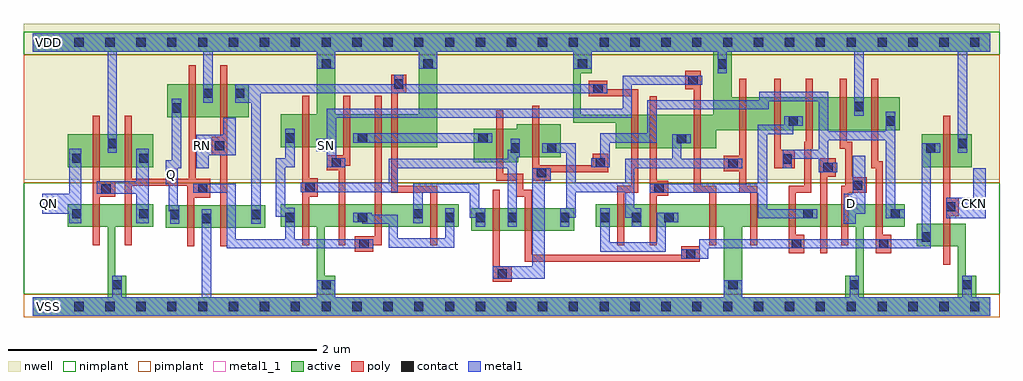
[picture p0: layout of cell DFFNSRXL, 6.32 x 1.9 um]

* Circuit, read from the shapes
.subckt DFFNSRXL CKN D Q QN RN SN VDD VSS
M1 VSS n1 QN VSS nfet w=0.145u l=0.045u
M2 n1 n2 VSS VSS nfet w=0.145u l=0.045u
M3 VSS n2 Q VSS nfet w=0.145u l=0.045u
M4 n3 RN VSS VSS nfet w=0.145u l=0.045u
M5 VSS n4 n2 VSS nfet w=0.145u l=0.045u
M6 n5 SN VSS VSS nfet w=0.145u l=0.045u
M7 n6 n2 n5 VSS nfet w=0.145u l=0.045u
M8 n5 n3 n6 VSS nfet w=0.145u l=0.045u
M9 n4 n7 n6 VSS nfet w=0.145u l=0.045u
M10 n8 n9 n4 VSS nfet w=0.145u l=0.045u
M11 n8 n3 n10 VSS nfet w=0.145u l=0.045u
M12 n10 n11 n8 VSS nfet w=0.145u l=0.045u
M13 VSS SN n10 VSS nfet w=0.145u l=0.045u
M14 n12 n8 VSS VSS nfet w=0.145u l=0.045u
M15 n11 n9 n12 VSS nfet w=0.145u l=0.045u
M16 n13 n7 n11 VSS nfet w=0.145u l=0.045u
M17 VSS D n13 VSS nfet w=0.145u l=0.045u
M18 n7 n9 VSS VSS nfet w=0.145u l=0.045u
M19 VSS CKN n9 VSS nfet w=0.145u l=0.045u
M20 VDD n1 QN VDD pfet w=0.215u l=0.045u
M21 n1 n2 VDD VDD pfet w=0.215u l=0.045u
M22 VDD n2 Q VDD pfet w=0.215u l=0.045u
M23 n3 RN VDD VDD pfet w=0.215u l=0.045u
M24 VDD n4 n2 VDD pfet w=0.215u l=0.045u
M25 n14 SN VDD VDD pfet w=0.215u l=0.045u
M26 n15 n2 n14 VDD pfet w=0.215u l=0.045u
M27 VDD n3 n15 VDD pfet w=0.215u l=0.045u
M28 n4 n9 n14 VDD pfet w=0.215u l=0.045u
M29 n8 n7 n4 VDD pfet w=0.215u l=0.045u
M30 n16 n3 VDD VDD pfet w=0.215u l=0.045u
M31 n8 n11 n16 VDD pfet w=0.215u l=0.045u
M32 VDD SN n8 VDD pfet w=0.215u l=0.045u
M33 n17 n8 VDD VDD pfet w=0.215u l=0.045u
M34 n11 n7 n17 VDD pfet w=0.215u l=0.045u
M35 n18 n9 n11 VDD pfet w=0.215u l=0.045u
M36 VDD D n18 VDD pfet w=0.215u l=0.045u
M37 n7 n9 VDD VDD pfet w=0.215u l=0.045u
M38 VDD CKN n9 VDD pfet w=0.215u l=0.045u
.ends

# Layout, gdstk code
import gdstk
lib = gdstk.Library(unit=1e-6, precision=5e-10)
def R(c, l, rs):  # rectangles x0, y0, x1, y1
    for r in rs: c.add(gdstk.rectangle(r[:2], r[2:], *l))
def A(c, l, x, y, w, h, nx, ny, dx, dy):  # array of equal rectangles
    R(c, l, [(x+i*dx, y+j*dy, x+i*dx+w, y+j*dy+h) for i in range(nx) for j in range(ny)])
def P(c, l, *ps):  # polygons
    for p in ps: c.add(gdstk.Polygon(p, *l))
active = (1, 0)
nwell = (2, 0)
poly = (3, 0)
nimplant = (4, 0)
pimplant = (5, 0)
contact = (6, 0)
metal1 = (7, 0)
metal1_1 = (7, 1)

dffnsrxl = lib.new_cell('DFFNSRXL')
R(dffnsrxl, active, [(2.84,0.49,3.505,0.635), (0.86,0.51,1.505,0.655), (0.225,0.9,0.78,1.115), (5.755,0.9,6.08,1.115), (0.87,1.225,1.4,1.44)])
P(dffnsrxl, active, [(0,1.77),(6.2,1.77),(6.2,1.65),(4.525,1.65),(4.525,1.355),(5.615,1.355),(5.615,1.14),(4.425,1.14),(4.425,1.025),(3.775,1.025),(3.775,1.19),(3.5,1.19),(3.5,1.65),(3.62,1.65),(3.62,1.51),(3.55,1.51),(3.55,1.24),(4.405,1.24),(4.405,1.65),(2.62,1.65),(2.62,1.03),(1.605,1.03),(1.605,1.245),(1.84,1.245),(1.84,1.65),(1.96,1.65),(1.96,1.245),(2.5,1.245),(2.5,1.65),(0,1.65)],
  [(3.135,1.18),(3.42,1.18),(3.42,0.965),(3.145,0.965),(3.145,0.935),(2.855,0.935),(2.855,1.15),(3.135,1.15)],
  [(0.225,0.66),(0.78,0.66),(0.78,0.515),(0.535,0.515),(0.535,0.2),(0.605,0.2),(0.605,0.06),(1.84,0.06),(1.84,0.515),(1.605,0.515),(1.605,0.66),(2.76,0.66),(2.76,0.515),(1.89,0.515),(1.89,0.2),(1.96,0.2),(1.96,0.06),(4.475,0.06),(4.475,0.515),(4.595,0.515),(4.595,0.06),(5.26,0.06),(5.26,0.2),(5.33,0.2),(5.33,0.515),(3.645,0.515),(3.645,0.66),(5.645,0.66),(5.645,0.515),(5.38,0.515),(5.38,0.06),(5.99,0.06),(5.99,0.39),(5.725,0.39),(5.725,0.535),(6.04,0.535),(6.04,0.2),(6.11,0.2),(6.11,0.06),(6.2,0.06),(6.2,-0.06),(0,-0.06),(0,0.06),(0.485,0.06),(0.485,0.515),(0.225,0.515)])
R(dffnsrxl, nwell, [(-0.06,0.82,6.26,1.83)])
P(dffnsrxl, poly, [(0.595,1.235),(0.64,1.235),(0.64,0.825),(1.01,0.825),(1.01,1.56),(1.055,1.56),(1.055,0.825),(1.15,0.825),(1.15,0.705),(1.045,0.705),(1.045,0.39),(1,0.39),(1,0.78),(0.64,0.78),(0.64,0.395),(0.595,0.395)],
  [(1.215,1.56),(1.26,1.56),(1.26,0.39),(1.215,0.39),(1.215,0.98),(1.16,0.98),(1.16,1.1),(1.215,1.1)],
  [(0.39,1.235),(0.435,1.235),(0.435,0.81),(0.535,0.81),(0.535,0.71),(0.435,0.71),(0.435,0.395),(0.39,0.395)],
  [(1.745,1.365),(1.79,1.365),(1.79,0.83),(1.845,0.83),(1.845,0.71),(1.79,0.71),(1.79,0.395),(1.745,0.395)],
  [(2.32,1.5),(2.42,1.5),(2.42,1.38),(2.365,1.38),(2.365,0.78),(2.62,0.78),(2.62,0.395),(2.575,0.395),(2.575,0.735),(2.32,0.735)],
  [(2.01,1.365),(2.055,1.365),(2.055,0.91),(2.025,0.91),(2.025,0.395),(1.98,0.395),(1.98,0.88),(1.905,0.88),(1.905,0.98),(2.01,0.98)],
  [(2.215,1.365),(2.26,1.365),(2.26,0.395),(2.205,0.395),(2.205,0.355),(2.085,0.355),(2.085,0.455),(2.215,0.455)],
  [(4.225,1.525),(4.325,1.525),(4.325,0.78),(4.425,0.78),(4.425,0.395),(4.38,0.395),(4.38,0.735),(4.28,0.735),(4.28,1.405),(4.225,1.405)],
  [(3,1.27),(3.045,1.27),(3.045,0.86),(3.175,0.86),(3.175,0.755),(3.23,0.755),(3.23,0.335),(4.2,0.335),(4.2,0.39),(4.32,0.39),(4.32,0.29),(3.185,0.29),(3.185,0.71),(3.13,0.71),(3.13,0.815),(3,0.815)],
  [(3.235,1.3),(3.28,1.3),(3.28,0.915),(3.625,0.915),(3.625,0.99),(3.725,0.99),(3.725,0.87),(3.355,0.87),(3.355,0.815),(3.235,0.815)],
  [(3.6,1.46),(3.72,1.46),(3.72,1.405),(3.92,1.405),(3.92,0.735),(3.83,0.735),(3.83,0.395),(3.785,0.395),(3.785,0.78),(3.875,0.78),(3.875,1.36),(3.6,1.36)],
  [(3.995,1.36),(4.04,1.36),(4.04,0.815),(4.115,0.815),(4.115,0.715),(4.04,0.715),(4.04,0.395),(3.995,0.395)],
  [(4.575,1.475),(4.62,1.475),(4.62,0.78),(4.69,0.78),(4.69,0.395),(4.645,0.395),(4.645,0.735),(4.575,0.735),(4.575,0.875),(4.475,0.875),(4.475,0.975),(4.575,0.975)],
  [(4.8,1.475),(4.845,1.475),(4.845,1.015),(4.935,1.015),(4.935,0.895),(4.8,0.895)],
  [(5.005,1.475),(5.05,1.475),(5.05,1.02),(5.04,1.02),(5.04,0.735),(4.94,0.735),(4.94,0.465),(4.995,0.465),(4.995,0.345),(4.895,0.345),(4.895,0.78),(4.995,0.78),(4.995,1.065),(5.005,1.065)],
  [(5.225,1.475),(5.27,1.475),(5.27,1.065),(5.305,1.065),(5.305,0.835),(5.4,0.835),(5.4,0.735),(5.28,0.735),(5.28,0.395),(5.235,0.395),(5.235,0.78),(5.26,0.78),(5.26,1.02),(5.225,1.02)],
  [(5.43,1.475),(5.475,1.475),(5.475,0.94),(5.505,0.94),(5.505,0.465),(5.56,0.465),(5.56,0.345),(5.46,0.345),(5.46,0.895),(5.43,0.895)],
  [(5.895,1.235),(5.94,1.235),(5.94,0.705),(5.995,0.705),(5.995,0.585),(5.94,0.585),(5.94,0.27),(5.895,0.27)],
  [(5.1,0.96),(5.2,0.96),(5.2,0.84),(5.145,0.84),(5.145,0.345),(5.1,0.345)],
  [(2.98,0.755),(3.025,0.755),(3.025,0.26),(3.1,0.26),(3.1,0.16),(2.98,0.16)])
R(dffnsrxl, nimplant, [(-0.06,0.08,6.26,0.8), (-0.06,1.63,6.26,1.78)])
R(dffnsrxl, pimplant, [(-0.06,-0.07,6.26,0.08), (-0.06,0.8,6.26,1.63)])
A(dffnsrxl, contact, 0.07, -0.03, 0.06, 0.06, 31, 2, 0.2, 1.71)
R(dffnsrxl, contact, [(0.515,0.11,0.575,0.17), (1.87,0.11,1.93,0.17), (4.505,0.11,4.565,0.17), (5.29,0.11,5.35,0.17), (6.02,0.11,6.08,0.17), (3.01,0.18,3.07,0.24), (4.23,0.31,4.29,0.37), (2.115,0.375,2.175,0.435), (4.915,0.375,4.975,0.435), (5.48,0.375,5.54,0.435), (5.755,0.42,5.815,0.48), (1.095,0.54,1.155,0.6), (1.635,0.545,1.695,0.605), (2.105,0.545,2.165,0.605), (2.67,0.545,2.73,0.605), (2.87,0.545,2.93,0.605), (3.075,0.545,3.135,0.605), (3.415,0.545,3.475,0.605), (3.675,0.545,3.735,0.605), (3.88,0.545,3.94,0.605), (4.09,0.545,4.15,0.605), (0.89,0.565,0.95,0.625), (1.415,0.565,1.475,0.625), (0.255,0.57,0.315,0.63), (0.69,0.57,0.75,0.63), (2.465,0.57,2.525,0.63), (4.99,0.57,5.05,0.63), (5.555,0.57,5.615,0.63), (5.915,0.615,5.975,0.675), (0.445,0.73,0.505,0.79), (1.07,0.735,1.13,0.795), (4.025,0.735,4.085,0.795), (1.765,0.74,1.825,0.8), (5.31,0.755,5.37,0.815), (3.265,0.835,3.325,0.895), (5.12,0.87,5.18,0.93), (4.505,0.895,4.565,0.955), (1.935,0.9,1.995,0.96), (3.645,0.9,3.705,0.96), (4.855,0.925,4.915,0.985), (0.255,0.93,0.315,0.99), (0.69,0.93,0.75,0.99), (3.095,0.995,3.155,1.055), (3.33,0.995,3.39,1.055), (5.785,0.995,5.845,1.055), (1.18,1.01,1.24,1.07), (0.485,1.025,0.545,1.085), (5.99,1.025,6.05,1.085), (4.17,1.055,4.23,1.115), (1.635,1.06,1.695,1.12), (2.105,1.06,2.165,1.12), (2.885,1.06,2.945,1.12), (4.895,1.17,4.955,1.23), (5.525,1.17,5.585,1.23), (0.9,1.255,0.96,1.315), (5.32,1.265,5.38,1.325), (1.105,1.35,1.165,1.41), (1.31,1.35,1.37,1.41), (3.63,1.38,3.69,1.44), (2.34,1.41,2.4,1.47), (4.245,1.435,4.305,1.495), (1.87,1.54,1.93,1.6), (2.53,1.54,2.59,1.6), (3.53,1.54,3.59,1.6), (4.435,1.54,4.495,1.6)])
R(dffnsrxl, metal1, [(2.075,1.06,2.975,1.12)])
P(dffnsrxl, metal1, [(0,1.77),(6.2,1.77),(6.2,1.65),(6.05,1.65),(6.05,0.995),(5.99,0.995),(5.99,1.65),(5.38,1.65),(5.38,1.235),(5.32,1.235),(5.32,1.65),(4.495,1.65),(4.495,1.51),(4.435,1.51),(4.435,1.65),(3.62,1.65),(3.62,1.54),(3.5,1.54),(3.5,1.65),(2.62,1.65),(2.62,1.54),(2.5,1.54),(2.5,1.65),(1.96,1.65),(1.96,1.54),(1.84,1.54),(1.84,1.65),(1.165,1.65),(1.165,1.32),(1.105,1.32),(1.105,1.65),(0.545,1.65),(0.545,0.995),(0.485,0.995),(0.485,1.65),(0,1.65)],
  [(2.34,1.5),(2.4,1.5),(2.4,1.44),(3.72,1.44),(3.72,1.38),(1.475,1.38),(1.475,0.535),(1.415,0.535),(1.415,1.32),(1.31,1.32),(1.31,1.44),(2.34,1.44)],
  [(0.9,1.345),(0.96,1.345),(0.96,0.895),(0.94,0.895),(0.94,0.655),(0.95,0.655),(0.95,0.535),(0.89,0.535),(0.89,0.615),(0.88,0.615),(0.88,0.79),(0.86,0.79),(0.86,0.945),(0.9,0.945)],
  [(3.82,1.495),(4.335,1.495),(4.335,1.435),(3.88,1.435),(3.88,1.22),(1.965,1.22),(1.965,0.96),(2.025,0.96),(2.025,0.9),(1.905,0.9),(1.905,1.005),(1.835,1.005),(1.835,1.085),(1.905,1.085),(1.905,1.28),(3.82,1.28)],
  [(1.235,1.22),(1.315,1.22),(1.315,0.98),(1.14,0.98),(1.14,0.895),(1.06,0.895),(1.06,1.11),(1.235,1.11)],
  [(0.235,1.02),(0.315,1.02),(0.315,0.54),(0.235,0.54),(0.235,0.6),(0.06,0.6),(0.06,0.73),(0.235,0.73)],
  [(0.67,1.02),(0.75,1.02),(0.75,0.54),(0.67,0.54),(0.67,0.73),(0.415,0.73),(0.415,0.81),(0.67,0.81)],
  [(1.635,1.15),(1.695,1.15),(1.695,0.9),(1.635,0.9),(1.635,0.64),(1.695,0.64),(1.695,0.435),(2.205,0.435),(2.205,0.375),(1.255,0.375),(1.255,0.735),(1.04,0.735),(1.04,0.795),(1.315,0.795),(1.315,0.435),(1.635,0.435),(1.635,0.58),(1.575,0.58),(1.575,0.96),(1.635,0.96)],
  [(0.515,0.2),(0.575,0.2),(0.575,0.06),(1.095,0.06),(1.095,0.63),(1.155,0.63),(1.155,0.06),(1.84,0.06),(1.84,0.17),(1.96,0.17),(1.96,0.06),(4.475,0.06),(4.475,0.17),(4.595,0.17),(4.595,0.06),(5.29,0.06),(5.29,0.2),(5.35,0.2),(5.35,0.06),(6.02,0.06),(6.02,0.2),(6.08,0.2),(6.08,0.06),(6.2,0.06),(6.2,-0.06),(0,-0.06),(0,0.06),(0.515,0.06)],
  [(4.705,1.39),(5.15,1.39),(5.15,1.135),(5.525,1.135),(5.525,1.26),(5.585,1.26),(5.585,0.63),(5.645,0.63),(5.645,0.57),(5.525,0.57),(5.525,1.075),(5.15,1.075),(5.15,0.93),(5.21,0.93),(5.21,0.87),(5.09,0.87),(5.09,0.955),(4.915,0.955),(4.915,0.895),(4.855,0.895),(4.855,1.015),(5.09,1.015),(5.09,1.33),(4.765,1.33),(4.765,1.275),(4.04,1.275),(4.04,1.06),(3.735,1.06),(3.735,0.9),(3.615,0.9),(3.615,0.96),(3.675,0.96),(3.675,1.12),(3.98,1.12),(3.98,1.335),(4.705,1.335)],
  [(3.095,1.085),(3.155,1.085),(3.155,0.965),(3.135,0.965),(3.135,0.515),(3.075,0.515),(3.075,0.895),(2.365,0.895),(2.365,0.74),(1.735,0.74),(1.735,0.8),(2.305,0.8),(2.305,0.955),(3.075,0.955),(3.075,1.015),(3.095,1.015)],
  [(4.14,1.115),(4.26,1.115),(4.26,1.055),(4.2,1.055),(4.2,0.955),(4.595,0.955),(4.595,0.895),(3.895,0.895),(3.895,0.635),(3.94,0.635),(3.94,0.515),(3.88,0.515),(3.88,0.575),(3.835,0.575),(3.835,0.74),(3.515,0.74),(3.515,0.575),(3.475,0.575),(3.475,0.515),(3.415,0.515),(3.415,0.635),(3.455,0.635),(3.455,0.995),(3.3,0.995),(3.3,1.055),(3.515,1.055),(3.515,0.8),(3.835,0.8),(3.835,0.955),(4.14,0.955)],
  [(4.865,1.23),(4.985,1.23),(4.985,1.17),(4.925,1.17),(4.925,1.115),(4.755,1.115),(4.755,0.63),(5.08,0.63),(5.08,0.57),(4.695,0.57),(4.695,0.735),(3.995,0.735),(3.995,0.795),(4.695,0.795),(4.695,1.175),(4.865,1.175)],
  [(2.465,0.795),(2.89,0.795),(2.89,0.635),(2.93,0.635),(2.93,0.515),(2.87,0.515),(2.87,0.575),(2.83,0.575),(2.83,0.735),(2.525,0.735),(2.525,0.54),(2.465,0.54)],
  [(2.075,0.605),(2.195,0.605),(2.195,0.595),(2.365,0.595),(2.365,0.44),(2.67,0.44),(2.67,0.635),(2.73,0.635),(2.73,0.38),(2.305,0.38),(2.305,0.535),(2.135,0.535),(2.135,0.545),(2.075,0.545)],
  [(3.235,0.895),(3.355,0.895),(3.355,0.815),(3.315,0.815),(3.315,0.18),(2.98,0.18),(2.98,0.26),(3.235,0.26)],
  [(5.31,0.975),(5.39,0.975),(5.39,0.6),(5.33,0.6),(5.33,0.535),(5.25,0.535),(5.25,0.73),(5.31,0.73)],
  [(3.675,0.635),(3.735,0.635),(3.735,0.415),(4.04,0.415),(4.04,0.605),(4.18,0.605),(4.18,0.545),(4.1,0.545),(4.1,0.355),(3.675,0.355)],
  [(5.755,1.055),(5.875,1.055),(5.875,0.995),(5.815,0.995),(5.815,0.375),(4.375,0.375),(4.375,0.31),(4.2,0.31),(4.2,0.37),(4.315,0.37),(4.315,0.435),(5.755,0.435)],
  [(6.09,0.895),(6.17,0.895),(6.17,0.57),(5.915,0.57),(5.915,0.705),(6.09,0.705)])
R(dffnsrxl, metal1_1, [(0.06,-0.04,0.14,0.04), (0.06,0.625,0.14,0.705), (5.26,0.625,5.34,0.705), (6.06,0.625,6.14,0.705), (0.86,0.815,0.94,0.895), (1.06,1.005,1.14,1.085), (1.86,1.005,1.94,1.085), (0.06,1.67,0.14,1.75)])
dffnsrxl.add(gdstk.Label('Q', (0.9,0.855), layer=7, texttype=1))
dffnsrxl.add(gdstk.Label('QN', (0.1,0.665), layer=7, texttype=1))
dffnsrxl.add(gdstk.Label('CKN', (6.1,0.665), layer=7, texttype=1))
dffnsrxl.add(gdstk.Label('D', (5.3,0.665), layer=7, texttype=1))
dffnsrxl.add(gdstk.Label('SN', (1.9,1.045), layer=7, texttype=1))
dffnsrxl.add(gdstk.Label('RN', (1.1,1.045), layer=7, texttype=1))
dffnsrxl.add(gdstk.Label('VDD', (0.1,1.71), layer=7, texttype=1))
dffnsrxl.add(gdstk.Label('VSS', (0.1,0), layer=7, texttype=1))
dffnsrxl.add(gdstk.Label('DFFNSRXL', (0,0), layer=63, texttype=0))

lib.write_gds('DFFNSRXL.gds')
